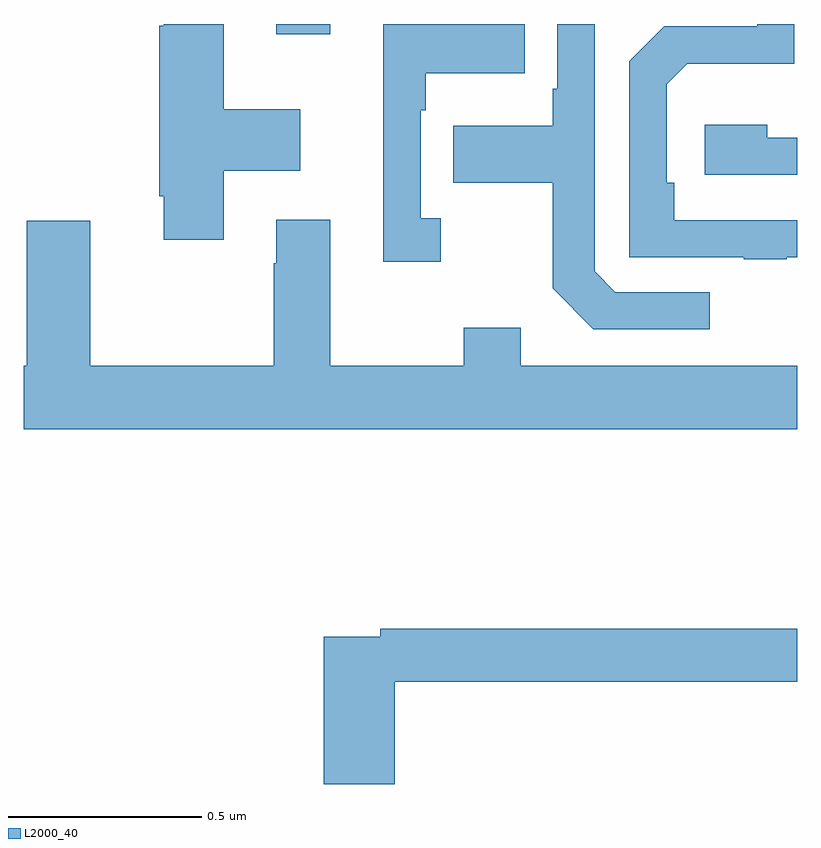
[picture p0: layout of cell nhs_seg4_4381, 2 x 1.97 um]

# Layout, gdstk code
import gdstk
lib = gdstk.Library(unit=1e-6, precision=1e-09)
def R(c, l, rs):  # rectangles x0, y0, x1, y1
    for r in rs: c.add(gdstk.rectangle(r[:2], r[2:], *l))
def P(c, l, *ps):  # polygons
    for p in ps: c.add(gdstk.Polygon(p, *l))
L2000_40 = (2000, 40)

nhs_seg4_4381 = lib.new_cell('nhs_seg4_4381')
R(nhs_seg4_4381, L2000_40, [(165.653,765.873,165.793,765.9)])
P(nhs_seg4_4381, L2000_40, [(166.078,765.398),(166.026,765.398),(166.026,765.677),(166.039,765.677),(166.039,765.773),(166.295,765.773),(166.295,765.9),(165.929,765.9),(165.929,765.285),(166.078,765.285)],
  [(166.774,765.207),(166.53,765.207),(166.476,765.261),(166.476,765.9),(166.38,765.9),(166.38,765.733),(166.368,765.733),(166.368,765.637),(166.111,765.637),(166.111,765.49),(166.368,765.49),(166.368,765.217),(166.473,765.111),(166.774,765.111)],
  [(166.973,765.297),(167,765.297),(167,765.393),(166.682,765.393),(166.682,765.49),(166.662,765.49),(166.662,765.744),(166.715,765.797),(166.992,765.797),(166.992,765.9),(166.896,765.9),(166.896,765.894),(166.656,765.894),(166.566,765.804),(166.566,765.297),(166.861,765.297),(166.861,765.292),(166.973,765.292)],
  [(165.517,765.521),(165.715,765.521),(165.715,765.679),(165.517,765.679),(165.517,765.9),(165.362,765.9),(165.362,765.896),(165.35,765.896),(165.35,765.454),(165.362,765.454),(165.362,765.342),(165.517,765.342)],
  [(167,765.606),(166.922,765.606),(166.922,765.64),(166.761,765.64),(166.761,765.51),(167,765.51)],
  [(167,765.016),(166.285,765.016),(166.285,765.115),(166.138,765.115),(166.138,765.016),(165.793,765.016),(165.793,765.394),(165.653,765.394),(165.653,765.281),(165.646,765.281),(165.646,765.016),(165.172,765.016),(165.172,765.391),(165.008,765.391),(165.008,765.016),(165,765.016),(165,764.852),(167,764.852)],
  [(165.959,764.2),(167,764.2),(167,764.336),(165.922,764.336),(165.922,764.316),(165.776,764.316),(165.776,763.935),(165.959,763.935)])

lib.write_gds('nhs_seg4_4381.gds')
